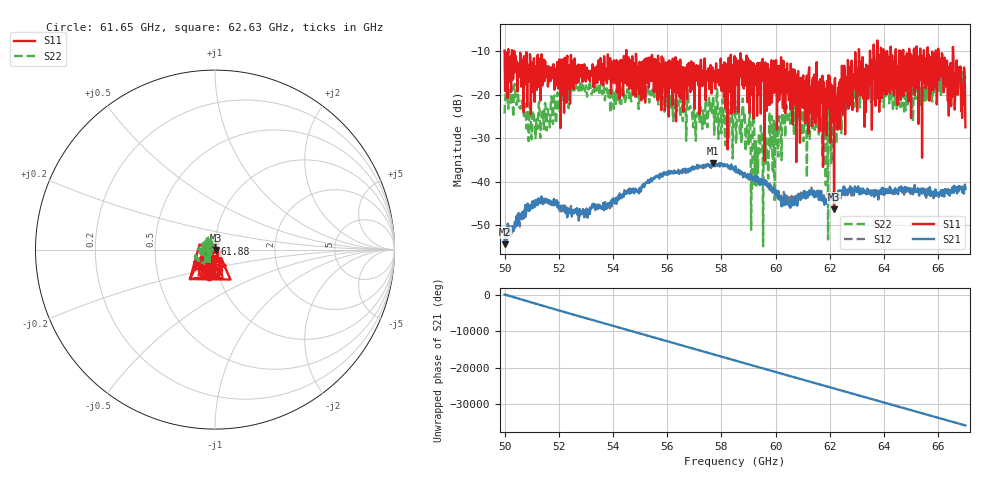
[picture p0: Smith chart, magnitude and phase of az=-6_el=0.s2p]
!Created with skrf (http://scikit-rf.org).
# GHz S RI R 50.0
!freq ReS11 ImS11 ReS21 ImS21 ReS12 ImS12 ReS22 ImS22
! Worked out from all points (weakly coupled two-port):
!   1001 points, 50 GHz to 67 GHz, reference 50 ohm
!   highest |S21| = -35.67 dB at 57.68 GHz (marker M1); lowest = -54.4 dB at 50.02 GHz (marker M2)
!   lowest |S11| = -46.3 dB at 62.16 GHz (marker M3), VSWR 1.01, Z = 50.5 - j0.151 ohm
!   |S11| at or under -10 dB: 50.36 GHz to 54.49 GHz (4.13 GHz wide, 7.88 % of centre); 54.49 GHz to 63.07 GHz (8.582 GHz wide, 14.6 % of centre); 66 GHz to 66.54 GHz (533.8 MHz wide, 0.805 % of centre) (the widest 3 of 26)
!   |S22| runs from -54.8 to -14.1 dB; largest |S21 - S12| = 0.0022
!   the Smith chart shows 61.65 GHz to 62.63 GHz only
!   S11 on the Smith chart (normalised r, x): 61.65 GHz: 0.90, -0.27; 61.88 GHz: 0.99, +0.07; 62.63 GHz: 0.94, -0.21
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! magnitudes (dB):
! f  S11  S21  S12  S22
! 50 GHz  -9.8  -53.3  -54.5  -24.3
! 50.02 GHz  -19.1  -54.4  -53.3  -21.2
! 51.21 GHz  -11.5  -44.7  -45.0  -27.9
! 52.84 GHz  -14.0  -46.9  -47.5  -19.3
! 55.68 GHz  -13.4  -38.5  -38.5  -22.2
! 57 GHz  -23.2  -36.6  -36.8  -22.0
! 57.68 GHz  -16.9  -35.7  -36.4  -21.0
! 58.5 GHz  -24.0  -37.3  -37.0  -24.2
! 59.61 GHz  -12.7  -40.6  -40.3  -35.1
! 59.84 GHz  -12.1  -41.4  -42.0  -25.7
! 60.03 GHz  -15.0  -42.8  -42.5  -31.4
! 60.34 GHz  -14.1  -42.9  -44.6  -24.9
! 61.34 GHz  -27.2  -42.0  -42.9  -25.5
! 61.65 GHz  -16.4  -44.2  -42.6  -25.2
! 61.88 GHz  -29.3  -44.2  -44.6  -23.1
! 62.16 GHz  -46.3  -42.9  -44.2  -28.2
! 62.63 GHz  -19.1  -41.8  -42.0  -23.0
! 64.18 GHz  -18.7  -42.6  -42.1  -18.6
! 66.08 GHz  -15.2  -42.8  -42.6  -15.6
! 66.42 GHz  -15.1  -43.2  -43.0  -16.2
! 66.75 GHz  -17.1  -41.0  -42.0  -18.4
! 67 GHz  -27.5  -41.6  -41.0  -15.6
